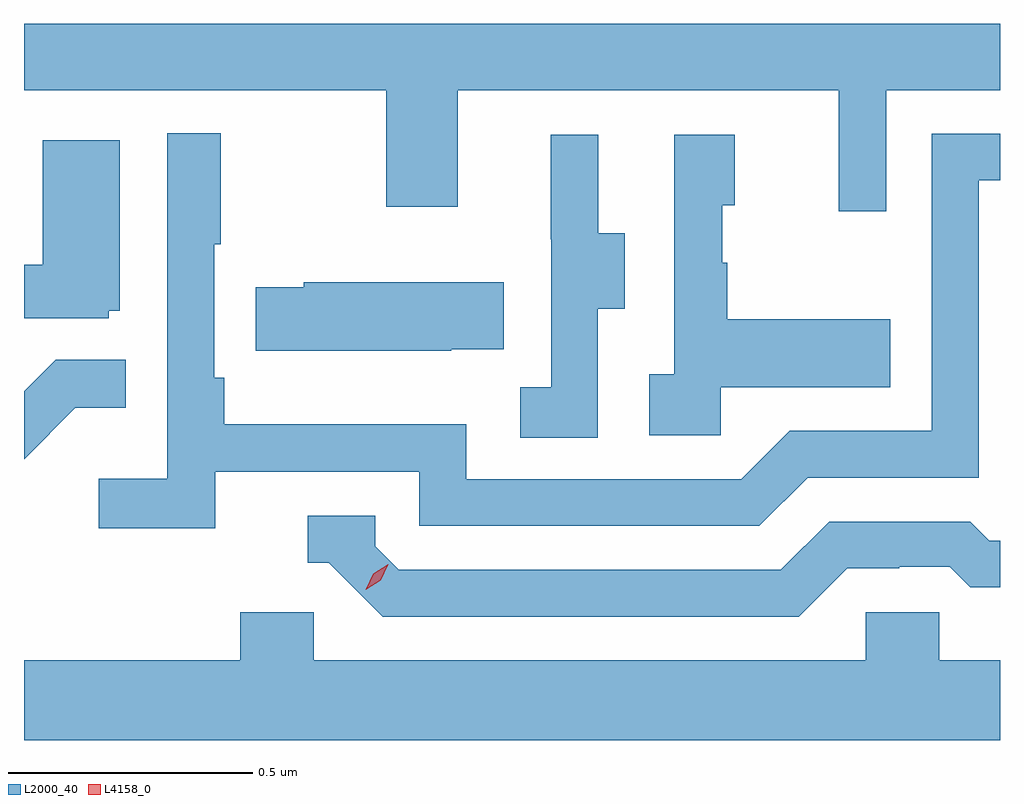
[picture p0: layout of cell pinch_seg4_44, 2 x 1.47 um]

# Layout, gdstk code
import gdstk
lib = gdstk.Library(unit=1e-6, precision=1e-09)
def P(c, l, *ps):  # polygons
    for p in ps: c.add(gdstk.Polygon(p, *l))
L2000_40 = (2000, 40)
L4158_0 = (4158, 0)

pinch_seg4_44 = lib.new_cell('pinch_seg4_44')
P(pinch_seg4_44, L2000_40, [(1117.677,819.464),(1117.91,819.464),(1117.91,819.6),(1115.91,819.6),(1115.91,819.464),(1116.652,819.464),(1116.652,819.225),(1116.799,819.225),(1116.799,819.464),(1117.58,819.464),(1117.58,819.216),(1117.677,819.216)],
  [(1116.302,818.682),(1116.72,818.682),(1116.72,818.571),(1117.417,818.571),(1117.516,818.67),(1117.866,818.67),(1117.866,819.279),(1117.91,819.279),(1117.91,819.375),(1117.77,819.375),(1117.77,818.766),(1117.479,818.766),(1117.38,818.667),(1116.816,818.667),(1116.816,818.779),(1116.32,818.779),(1116.32,818.875),(1116.3,818.875),(1116.3,819.148),(1116.313,819.148),(1116.313,819.376),(1116.204,819.376),(1116.204,818.668),(1116.063,818.668),(1116.063,818.566),(1116.302,818.566)],
  [(1117.338,818.855),(1117.685,818.855),(1117.685,818.995),(1117.351,818.995),(1117.351,819.11),(1117.341,819.11),(1117.341,819.228),(1117.366,819.228),(1117.366,819.373),(1117.242,819.373),(1117.242,818.882),(1117.191,818.882),(1117.191,818.757),(1117.338,818.757)],
  [(1117.086,819.016),(1117.141,819.016),(1117.141,819.171),(1117.087,819.171),(1117.087,819.373),(1116.989,819.373),(1116.989,819.159),(1116.99,819.159),(1116.99,818.855),(1116.927,818.855),(1116.927,818.752),(1117.086,818.752)],
  [(1116.084,819.012),(1116.106,819.012),(1116.106,819.361),(1115.948,819.361),(1115.948,819.106),(1115.91,819.106),(1115.91,818.997),(1116.084,818.997)],
  [(1116.785,818.933),(1116.893,818.933),(1116.893,819.07),(1116.483,819.07),(1116.483,819.06),(1116.385,819.06),(1116.385,818.93),(1116.785,818.93)],
  [(1116.015,818.813),(1116.119,818.813),(1116.119,818.912),(1115.975,818.912),(1115.91,818.847),(1115.91,818.708)],
  [(1117.597,818.484),(1117.704,818.484),(1117.704,818.487),(1117.807,818.487),(1117.849,818.445),(1117.91,818.445),(1117.91,818.541),(1117.888,818.541),(1117.849,818.58),(1117.56,818.58),(1117.461,818.481),(1116.678,818.481),(1116.63,818.529),(1116.63,818.592),(1116.491,818.592),(1116.491,818.496),(1116.534,818.496),(1116.645,818.385),(1117.498,818.385)],
  [(1117.91,818.296),(1117.785,818.296),(1117.785,818.394),(1117.635,818.394),(1117.635,818.296),(1116.504,818.296),(1116.504,818.394),(1116.353,818.394),(1116.353,818.296),(1115.91,818.296),(1115.91,818.132),(1117.91,818.132)])
P(pinch_seg4_44, L4158_0, [(1116.61,818.44),(1116.61,818.44),(1116.626,818.473),(1116.656,818.493),(1116.656,818.493),(1116.656,818.493),(1116.641,818.46),(1116.61,818.44)])

lib.write_gds('pinch_seg4_44.gds')
